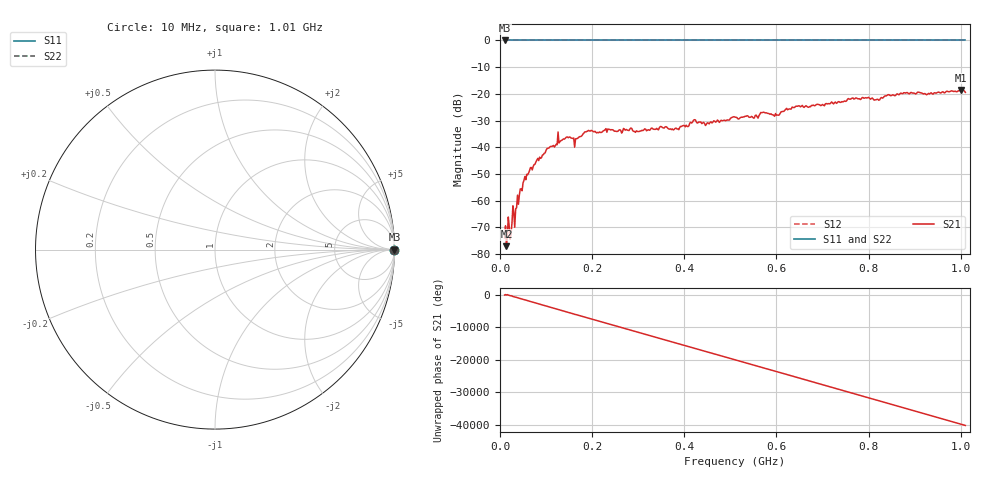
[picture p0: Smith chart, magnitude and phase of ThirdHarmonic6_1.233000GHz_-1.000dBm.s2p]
! 8/16/2025 1:02:27 PM
! C:\ANRITSUVNA\TEMP\TEMP.S2P
! CHANNEL.1
! TR.MEASUREMENT
! RAW.DATA
! RF.CORRECTION.OFF
! AVERAGING.OFF
! IF.BANDWIDTH: 5KHZ
! SWEEPTYPE:  FREQ.SWEEP(Linear)
! Reference Plane Port Info
! PORT:  PORT1  PORT2
! DISTANCE:  0  m  0  m
! TIME:  0  s  0  s
! PHASE.OFFSET:  0  deg.  0  deg.
! LOSS:  0  dB  0  dB
! REF.LOSS:  0  dB  0  dB
! REF.FREQ:  0  Hz  0  Hz
! Power Info
! POWER:  -20  dBm  -20  dBm
! EFF.POWER:  -20  dBm  -20  dBm
! SOURCE.ATTEN:  0  dB  0  dB
! TEST.ATTEN:  0  dB  0  dB
# GHZ S RI R 50.0
! FREQ.GHZ  S11RE  S11IM  S21RE  S21IM  S12RE  S12IM  S22RE  S22IM
!; PortSelection: Port_12
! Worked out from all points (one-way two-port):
!   501 points, 10 MHz to 1.01 GHz, reference 50 ohm
!   highest |S21| = -18.55 dB at 1 GHz (marker M1); lowest = -77.0 dB at 14 MHz (marker M2)
!   lowest |S11| = 0.0 dB at 10 MHz (marker M3)
!   |S11| at or under -10 dB: nowhere
!   |S22| runs from 0.0 to 0.0 dB; largest |S21 - S12| = 1.1
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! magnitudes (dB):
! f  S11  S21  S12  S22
! 10 MHz  0.0  -73.9  0.0  0.0
! 14 MHz  0.0  -77.0  0.0  0.0
! 18 MHz  0.0  -66.1  0.0  0.0
! 28 MHz  0.0  -61.9  0.0  0.0
! 42 MHz  0.0  -57.9  0.0  0.0
! 54 MHz  0.0  -50.9  0.0  0.0
! 78 MHz  0.0  -45.4  0.0  0.0
! 130 MHz  0.0  -37.9  0.0  0.0
! 166 MHz  0.0  -36.8  0.0  0.0
! 178 MHz  0.0  -35.6  0.0  0.0
! 194 MHz  0.0  -33.9  0.0  0.0
! 344 MHz  0.0  -33.5  0.0  0.0
! 384 MHz  0.0  -33.1  0.0  0.0
! 422 MHz  0.0  -29.7  0.0  0.0
! 510 MHz  0.0  -28.7  0.0  0.0
! 570 MHz  0.0  -26.9  0.0  0.0
! 600 MHz  0.0  -28.0  0.0  0.0
! 644 MHz  0.0  -24.6  0.0  0.0
! 678 MHz  0.0  -24.3  0.0  0.0
! 844 MHz  0.0  -20.3  0.0  0.0
! 1 GHz  0.0  -18.6  0.0  0.0
! 1.01 GHz  0.0  -19.4  0.0  0.0
